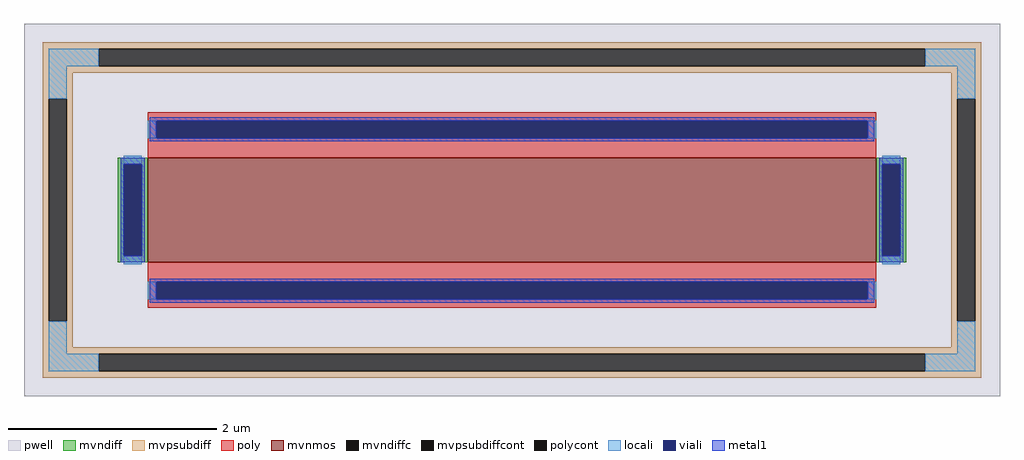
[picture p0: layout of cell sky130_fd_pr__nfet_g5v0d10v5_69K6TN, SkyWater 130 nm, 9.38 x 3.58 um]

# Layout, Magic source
magic
tech sky130A
<< pwell >>
rect -469 -179 469 179
<< mvnmos >>
rect -350 -50 350 50
<< mvndiff >>
rect -379 44 -350 50
rect -379 -44 -373 44
rect -356 -44 -350 44
rect -379 -50 -350 -44
rect 350 44 379 50
rect 350 -44 356 44
rect 373 -44 379 44
rect 350 -50 379 -44
<< mvndiffc >>
rect -373 -44 -356 44
rect 356 -44 373 44
<< mvpsubdiff >>
rect -451 155 451 161
rect -451 138 -397 155
rect 397 138 451 155
rect -451 132 451 138
rect -451 107 -422 132
rect -451 -107 -445 107
rect -428 -107 -422 107
rect 422 107 451 132
rect -451 -132 -422 -107
rect 422 -107 428 107
rect 445 -107 451 107
rect 422 -132 451 -107
rect -451 -138 451 -132
rect -451 -155 -397 -138
rect 397 -155 451 -138
rect -451 -161 451 -155
<< mvpsubdiffcont >>
rect -397 138 397 155
rect -445 -107 -428 107
rect 428 -107 445 107
rect -397 -155 397 -138
<< poly >>
rect -350 86 350 94
rect -350 69 -342 86
rect 342 69 350 86
rect -350 50 350 69
rect -350 -69 350 -50
rect -350 -86 -342 -69
rect 342 -86 350 -69
rect -350 -94 350 -86
<< polycont >>
rect -342 69 342 86
rect -342 -86 342 -69
<< locali >>
rect -445 138 -397 155
rect 397 138 445 155
rect -445 107 -428 138
rect 428 107 445 138
rect -350 69 -342 86
rect 342 69 350 86
rect -373 44 -356 52
rect -373 -52 -356 -44
rect 356 44 373 52
rect 356 -52 373 -44
rect -350 -86 -342 -69
rect 342 -86 350 -69
rect -445 -138 -428 -107
rect 428 -138 445 -107
rect -445 -155 -397 -138
rect 397 -155 445 -138
<< viali >>
rect -342 69 342 86
rect -373 -44 -356 44
rect 356 -44 373 44
rect -342 -86 342 -69
<< metal1 >>
rect -348 86 348 89
rect -348 69 -342 86
rect 342 69 348 86
rect -348 66 348 69
rect -376 44 -353 50
rect -376 -44 -373 44
rect -356 -44 -353 44
rect -376 -50 -353 -44
rect 353 44 376 50
rect 353 -44 356 44
rect 373 -44 376 44
rect 353 -50 376 -44
rect -348 -69 348 -66
rect -348 -86 -342 -69
rect 342 -86 348 -69
rect -348 -89 348 -86
<< properties >>
string FIXED_BBOX -431 -146 431 146
string gencell sky130_fd_pr__nfet_g5v0d10v5
string library sky130
string parameters w 1.0 l 7.0 m 1 nf 1 diffcov 100 polycov 100 guard 1 glc 1 grc 1 gtc 1 gbc 1 tbcov 100 rlcov 100 topc 1 botc 1 poverlap 0 doverlap 1 lmin 0.50 wmin 0.42 compatible {sky130_fd_pr__nfet_01v8 sky130_fd_pr__nfet_01v8_lvt  sky130_fd_bs_flash__special_sonosfet_star  sky130_fd_pr__nfet_g5v0d10v5 sky130_fd_pr__nfet_05v0_nvt  sky130_fd_pr__nfet_03v3_nvt} full_metal 1 viasrc 100 viadrn 100 viagate 100 viagb 0 viagr 0 viagl 0 viagt 0
<< end >>
